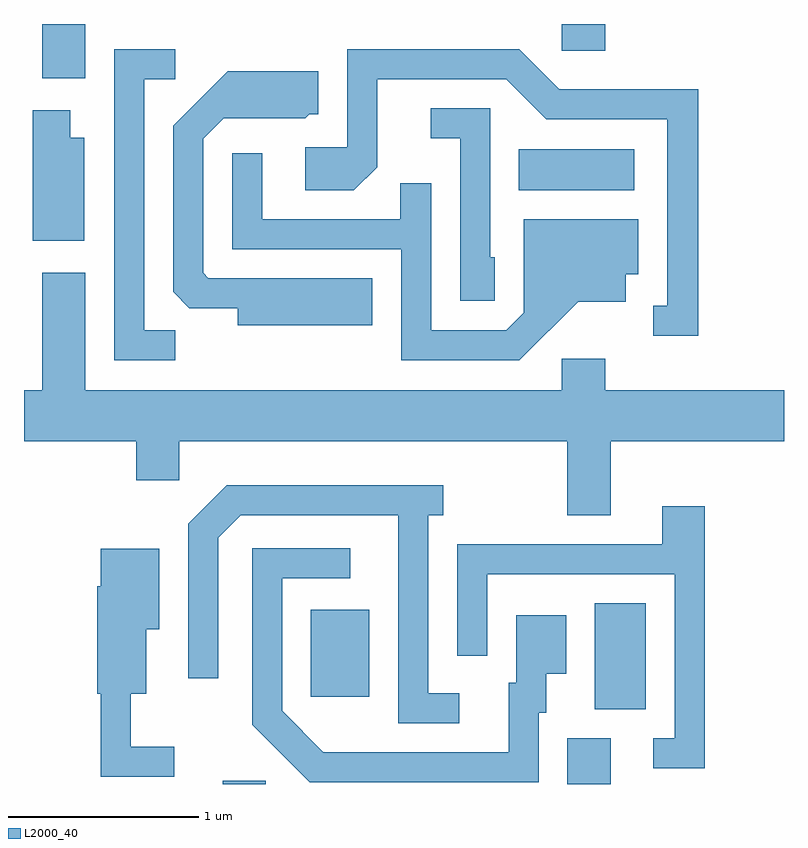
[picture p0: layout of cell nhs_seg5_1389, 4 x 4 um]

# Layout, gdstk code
import gdstk
lib = gdstk.Library(unit=1e-6, precision=1e-09)
def R(c, l, rs):  # rectangles x0, y0, x1, y1
    for r in rs: c.add(gdstk.rectangle(r[:2], r[2:], *l))
def P(c, l, *ps):  # polygons
    for p in ps: c.add(gdstk.Polygon(p, *l))
L2000_40 = (2000, 40)

nhs_seg5_1389 = lib.new_cell('nhs_seg5_1389')
R(nhs_seg5_1389, L2000_40, [(226.656,1486.072,226.884,1486.089), (228.471,1486.072,228.699,1486.314), (228.616,1486.466,228.884,1487.024), (227.121,1486.531,227.429,1486.989), (228.216,1489.196,228.824,1489.414), (225.706,1489.786,225.934,1490.072), (228.441,1489.931,228.669,1490.072)])
P(nhs_seg5_1389, L2000_40, [(229.159,1489.729),(228.427,1489.729),(228.217,1489.939),(227.311,1489.939),(227.311,1489.424),(227.091,1489.424),(227.091,1489.196),(227.347,1489.196),(227.469,1489.319),(227.469,1489.781),(228.149,1489.781),(228.359,1489.571),(228.996,1489.571),(228.996,1488.589),(228.923,1488.589),(228.923,1488.431),(229.159,1488.431)],
  [(226.408,1488.459),(226.244,1488.459),(226.244,1489.781),(226.408,1489.781),(226.408,1489.939),(226.086,1489.939),(226.086,1488.301),(226.408,1488.301)],
  [(227.444,1488.734),(226.582,1488.734),(226.554,1488.762),(226.554,1489.469),(226.662,1489.576),(227.092,1489.576),(227.112,1489.596),(227.159,1489.596),(227.159,1489.824),(226.684,1489.824),(226.396,1489.537),(226.396,1488.662),(226.482,1488.576),(226.736,1488.576),(226.736,1488.486),(227.444,1488.486)],
  [(228.089,1488.844),(228.064,1488.844),(228.064,1489.629),(227.753,1489.629),(227.753,1489.471),(227.906,1489.471),(227.906,1488.616),(228.089,1488.616)],
  [(225.929,1489.474),(225.854,1489.474),(225.854,1489.619),(225.656,1489.619),(225.656,1488.931),(225.929,1488.931)],
  [(228.527,1488.611),(228.779,1488.611),(228.779,1488.756),(228.844,1488.756),(228.844,1489.044),(228.241,1489.044),(228.241,1488.552),(228.149,1488.459),(227.754,1488.459),(227.754,1489.233),(227.591,1489.233),(227.591,1489.044),(226.864,1489.044),(226.864,1489.393),(226.706,1489.393),(226.706,1488.886),(227.596,1488.886),(227.596,1488.301),(228.217,1488.301)],
  [(228.699,1487.876),(229.611,1487.876),(229.611,1488.144),(228.669,1488.144),(228.669,1488.309),(228.441,1488.309),(228.441,1488.144),(225.934,1488.144),(225.934,1488.764),(225.706,1488.764),(225.706,1488.144),(225.611,1488.144),(225.611,1487.876),(226.201,1487.876),(226.201,1487.671),(226.429,1487.671),(226.429,1487.876),(228.471,1487.876),(228.471,1487.486),(228.699,1487.486)],
  [(227.903,1486.549),(227.739,1486.549),(227.739,1487.486),(227.818,1487.486),(227.818,1487.644),(226.679,1487.644),(226.476,1487.442),(226.476,1486.628),(226.634,1486.628),(226.634,1487.369),(226.752,1487.486),(227.581,1487.486),(227.581,1486.391),(227.903,1486.391)],
  [(229.194,1487.534),(228.971,1487.534),(228.971,1487.334),(227.891,1487.334),(227.891,1486.748),(228.049,1486.748),(228.049,1487.176),(229.036,1487.176),(229.036,1486.314),(228.923,1486.314),(228.923,1486.156),(229.194,1486.156)],
  [(228.319,1486.446),(228.359,1486.446),(228.359,1486.651),(228.464,1486.651),(228.464,1486.959),(228.201,1486.959),(228.201,1486.604),(228.161,1486.604),(228.161,1486.239),(227.187,1486.239),(226.969,1486.457),(226.969,1487.156),(227.328,1487.156),(227.328,1487.314),(226.811,1487.314),(226.811,1486.384),(227.114,1486.081),(228.319,1486.081)],
  [(226.403,1486.269),(226.174,1486.269),(226.174,1486.546),(226.254,1486.546),(226.254,1486.886),(226.324,1486.886),(226.324,1487.309),(226.016,1487.309),(226.016,1487.114),(225.996,1487.114),(225.996,1486.546),(226.016,1486.546),(226.016,1486.111),(226.403,1486.111)])

lib.write_gds('nhs_seg5_1389.gds')
